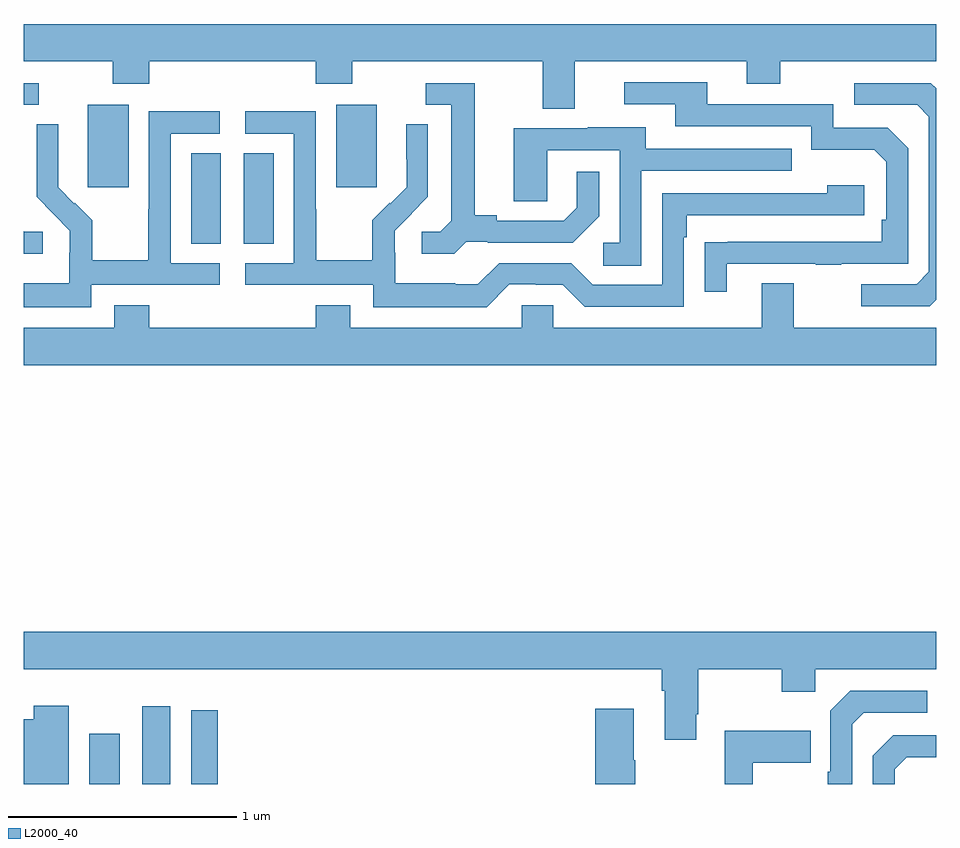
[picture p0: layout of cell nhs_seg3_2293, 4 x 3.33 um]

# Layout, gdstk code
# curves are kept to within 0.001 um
import gdstk
lib = gdstk.Library(unit=1e-6, precision=1e-09)
def R(c, l, rs):  # rectangles x0, y0, x1, y1
    for r in rs: c.add(gdstk.rectangle(r[:2], r[2:], *l))
def P(c, l, *ps):  # polygons
    for p in ps: c.add(gdstk.Polygon(p, *l))
L2000_40 = (2000, 40)

nhs_seg3_2293 = lib.new_cell('nhs_seg3_2293')
R(nhs_seg3_2293, L2000_40, [(229.286,712.4,229.42,712.621), (229.52,712.4,229.642,712.741), (229.734,712.4,229.85,712.723), (229.733,714.769,229.864,715.166), (229.964,714.769,230.095,715.166), (229.28,715.017,229.459,715.378), (230.369,715.017,230.548,715.378), (229,715.377,229.066,715.473)])
P(nhs_seg3_2293, L2000_40, [(231.415,715.568),(232.169,715.568),(232.169,715.469),(232.317,715.469),(232.317,715.568),(233,715.568),(233,715.732),(229,715.732),(229,715.568),(229.39,715.568),(229.39,715.469),(229.55,715.469),(229.55,715.568),(230.279,715.568),(230.279,715.469),(230.439,715.469),(230.439,715.568),(231.275,715.568),(231.275,715.36),(231.415,715.36)],
  [(232.081,714.681),(232.471,714.681),(232.471,714.676),(232.583,714.676),(232.583,714.681),(232.878,714.681),(232.878,715.188),(232.788,715.278),(232.548,715.278),(232.548,715.38),(231.997,715.38),(231.997,715.476),(231.633,715.476),(231.633,715.38),(231.857,715.38),(231.857,715.284),(232.452,715.284),(232.452,715.181),(232.729,715.181),(232.782,715.128),(232.782,714.874),(232.762,714.874),(232.762,714.777),(231.985,714.776),(231.985,714.558),(232.081,714.558)],
  [(233,714.524),(233,715.45),(232.977,715.473),(232.641,715.473),(232.641,715.377),(232.917,715.377),(232.968,715.326),(232.968,714.645),(232.914,714.591),(232.671,714.591),(232.671,714.495),(232.971,714.495)],
  [(230.94,714.777),(231.034,714.777),(231.034,714.774),(231.406,714.774),(231.522,714.89),(231.522,715.084),(231.425,715.084),(231.425,714.927),(231.368,714.87),(231.073,714.87),(231.073,714.893),(230.977,714.893),(230.977,715.473),(230.763,715.473),(230.763,715.377),(230.873,715.377),(230.873,714.869),(230.826,714.822),(230.745,714.822),(230.745,714.725),(230.888,714.725)],
  [(229.296,714.588),(229.858,714.588),(229.858,714.684),(229.644,714.684),(229.644,715.251),(229.858,715.251),(229.858,715.35),(229.548,715.35),(229.548,714.92),(229.546,714.92),(229.546,714.697),(229.301,714.697),(229.301,714.871),(229.224,714.948),(229.221,714.945),(229.151,715.016),(229.152,715.292),(229.056,715.292),(229.056,714.974),(229.202,714.826),(229.202,714.729),(229.2,714.729),(229.2,714.595),(229,714.595),(229,714.491),(229.296,714.491)],
  [(231.129,714.591),(231.245,714.591),(231.245,714.588),(231.363,714.588),(231.459,714.492),(231.894,714.492),(231.894,714.797),(231.907,714.797),(231.907,714.894),(232.684,714.894),(232.684,715.024),(232.523,715.024),(232.523,714.99),(231.798,714.99),(231.798,714.588),(231.495,714.588),(231.399,714.684),(231.084,714.684),(230.991,714.591),(230.891,714.591),(230.891,714.595),(230.628,714.595),(230.628,714.729),(230.626,714.729),(230.626,714.826),(230.772,714.974),(230.772,715.292),(230.676,715.292),(230.676,715.138),(230.678,715.138),(230.678,715.016),(230.607,714.945),(230.604,714.948),(230.527,714.871),(230.527,714.697),(230.283,714.697),(230.283,714.92),(230.28,714.92),(230.28,715.35),(229.971,715.35),(229.971,715.251),(230.184,715.251),(230.184,714.684),(229.971,714.684),(229.971,714.588),(230.532,714.588),(230.532,714.491),(231.029,714.491)],
  [(231.708,715.089),(232.367,715.089),(232.367,715.185),(231.727,715.185),(231.727,715.279),(231.473,715.279),(231.473,715.275),(231.149,715.275),(231.149,714.955),(231.294,714.955),(231.294,715.179),(231.612,715.179),(231.612,714.774),(231.54,714.774),(231.54,714.673),(231.708,714.673)],
  [(229.084,714.822),(229.002,714.822),(229,714.824),(229,714.725),(229.084,714.725)],
  [(233,714.4),(232.375,714.4),(232.375,714.595),(232.235,714.595),(232.235,714.4),(231.321,714.4),(231.321,714.498),(231.183,714.498),(231.183,714.4),(230.431,714.4),(230.431,714.499),(230.279,714.499),(230.279,714.4),(229.55,714.4),(229.55,714.499),(229.397,714.499),(229.397,714.4),(229,714.4),(229,714.236),(233,714.236)],
  [(231.949,712.705),(231.957,712.705),(231.957,712.904),(232.324,712.904),(232.324,712.805),(232.47,712.805),(232.47,712.904),(233,712.904),(233,713.068),(229,713.068),(229,712.904),(231.797,712.904),(231.797,712.808),(231.809,712.808),(231.809,712.593),(231.949,712.593)],
  [(232.632,712.662),(232.683,712.713),(232.96,712.713),(232.96,712.809),(232.623,712.809),(232.536,712.722),(232.536,712.453),(232.524,712.453),(232.524,712.4),(232.632,712.4)],
  [(229.198,712.744),(229.043,712.744),(229.043,712.684),(229,712.684),(229,712.4),(229.198,712.4)],
  [(231.681,712.505),(231.673,712.505),(231.673,712.729),(231.506,712.729),(231.506,712.4),(231.681,712.4)],
  [(232.195,712.493),(232.451,712.493),(232.451,712.633),(232.074,712.633),(232.074,712.4),(232.195,712.4)],
  [(232.818,712.464),(232.871,712.517),(233,712.517),(233,712.614),(232.812,712.614),(232.722,712.524),(232.722,712.4),(232.818,712.4)])

lib.write_gds('nhs_seg3_2293.gds')
